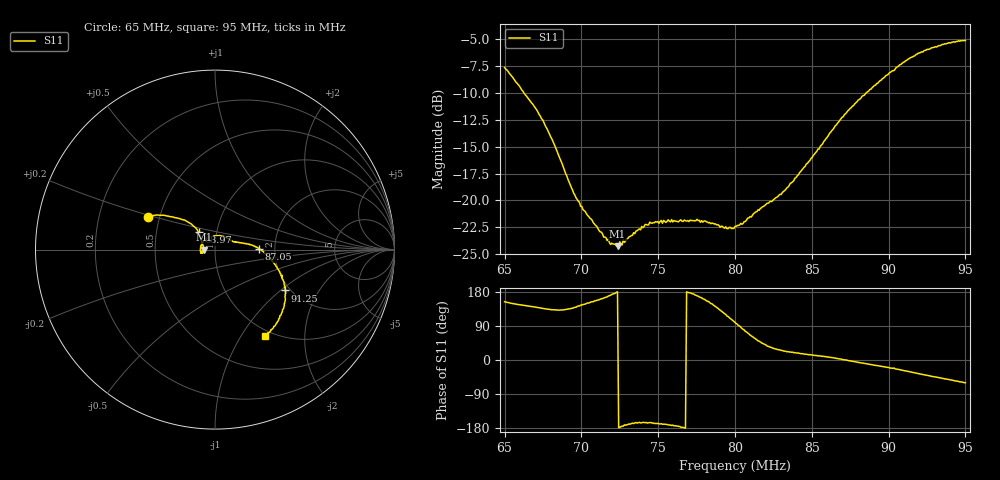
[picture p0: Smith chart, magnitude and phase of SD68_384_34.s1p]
! NanoVNA-App
! Date: 2025-08-02 15:43:45
! Start: 65MHz Stop: 95MHz Points: 401
! S-Parameter data: F S11
# Hz S RI R 50
!  Frequency  S11_Real  S11_Imag
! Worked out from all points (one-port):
!   401 points, 65 MHz to 95 MHz, reference 50 ohm
!   lowest |S11| = -24.2 dB at 72.35 MHz (marker M1), VSWR 1.13, Z = 44.2 + j0.00796 ohm
!   |S11| at or under -10 dB: 66.26 MHz to 88.54 MHz (22.28 MHz wide, 28.8 % of centre)
!   S11 on the Smith chart (normalised r, x): 65 MHz: 0.43, +0.19; 68.97 MHz: 0.82, +0.16; 87.05 MHz: 1.65, +0.01; 91.25 MHz: 1.88, -1.08; 95 MHz: 0.92, -1.28
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6.5e7  -0.3721 0.1834
6.59e7  -0.2862 0.1916
6.7175e7  -0.1923 0.1706
6.8e7  -0.1347 0.1443
6.875e7  -0.0987 0.1101
6.8975e7  -0.0912 0.0971
6.9575e7  -0.08 0.0693
7.025e7  -0.0748 0.048
7.175e7  -0.0649 0.0127
7.235e7  -0.0613 8.97e-05
7.25e7  -0.0642 -0.00266
7.43e7  -0.0748 -0.0179
7.625e7  -0.0793 -0.00788
7.82e7  -0.0717 0.0339
7.94e7  -0.038 0.0652
8e7  -0.0122 0.0748
8.06e7  0.0148 0.0784
8.18e7  0.0676 0.0647
8.2925e7  0.0957 0.0474
8.375e7  0.1141 0.0432
8.5625e7  0.178 0.0313
8.705e7  0.2449 0.00349
8.75e7  0.2676 -0.0104
8.93e7  0.3385 -0.091
9.035e7  0.3746 -0.1435
9.125e7  0.3912 -0.2273
9.29e7  0.3712 -0.3547
9.5e7  0.2777 -0.4792
